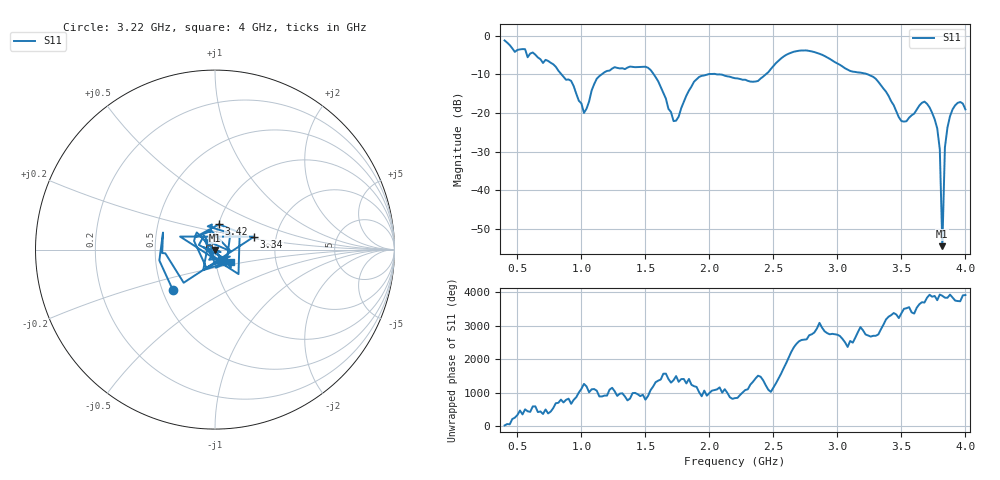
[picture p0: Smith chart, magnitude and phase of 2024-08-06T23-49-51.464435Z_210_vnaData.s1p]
!Created with skrf (http://scikit-rf.org).
# Hz S RI R 50.0
!freq ReS11 ImS11
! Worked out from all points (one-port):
!   181 points, 400 MHz to 4 GHz, reference 50 ohm
!   lowest |S11| = -54.4 dB at 3.82 GHz (marker M1), VSWR 1.00, Z = 50.1 - j0.165 ohm
!   |S11| at or under -10 dB: 1.566 GHz to 1.986 GHz (419.8 MHz wide, 23.6 % of centre); 2.087 GHz to 2.439 GHz (352.1 MHz wide, 15.6 % of centre); 3.239 GHz to end of sweep (the widest 3 of 4)
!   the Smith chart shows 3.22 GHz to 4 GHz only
!   S11 on the Smith chart (normalised r, x): 3.22 GHz: 0.57, -0.28; 3.34 GHz: 1.53, +0.23; 3.42 GHz: 1.00, +0.29; 4 GHz: 1.18, -0.17
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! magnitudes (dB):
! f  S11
! 400 MHz  -1.2
! 860 MHz  -10.6
! 920 MHz  -11.7
! 1.02 GHz  -19.9
! 1.12 GHz  -11.1
! 1.3 GHz  -8.4
! 1.52 GHz  -8.3
! 1.6 GHz  -11.8
! 1.72 GHz  -22.1
! 1.76 GHz  -20.9
! 1.92 GHz  -10.6
! 2.2 GHz  -11.0
! 2.38 GHz  -11.7
! 2.66 GHz  -4.1
! 3.1 GHz  -9.1
! 3.22 GHz  -9.8
! 3.34 GHz  -12.8
! 3.42 GHz  -16.9
! 3.5 GHz  -22.0
! 3.56 GHz  -21.2
! 3.68 GHz  -17.0
! 3.78 GHz  -24.0
! 3.8 GHz  -29.4
! 3.82 GHz  -54.4
! 3.84 GHz  -28.9
! 3.86 GHz  -23.7
! 3.92 GHz  -18.0
! 4 GHz  -19.0
